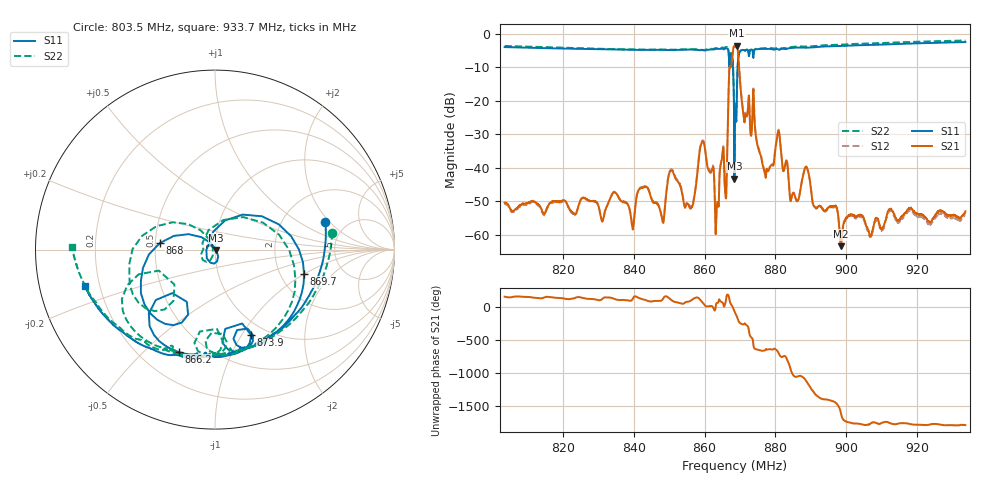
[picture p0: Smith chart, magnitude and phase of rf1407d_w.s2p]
!RF1407D, #2,job7175,wide,bn,8/22/05
# HZ S RI R 50
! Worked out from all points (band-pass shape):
!   1601 points, 803.5 MHz to 933.7 MHz, reference 50 ohm
!   highest |S21| = -3.55 dB at 869.2 MHz (marker M1); lowest = -63.4 dB at 898.6 MHz (marker M2)
!   |S21| within 3 dB of the highest: 867.8818 MHz to 869.5205 MHz (1.639 MHz wide, 0.189 % of centre)
!   lowest |S11| = -43.3 dB at 868.4 MHz (marker M3), VSWR 1.01, Z = 50.7 - j0.158 ohm
!   |S11| at or under -10 dB: 868.0198 MHz to 869.3282 MHz (1.308 MHz wide, 0.151 % of centre)
!   |S22| runs from -36.5 to -2.0 dB; largest |S21 - S12| = 0.023
!   S11 on the Smith chart (normalised r, x): 803.5 MHz: 3.47, +1.79; 866.2 MHz: 0.36, -0.64; 868 MHz: 0.53, +0.04; 869.7 MHz: 2.71, -0.99; 873.9 MHz: 0.85, -1.10; 933.7 MHz: 0.14, -0.13
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8.03455e8  0.6146 0.1541  -0.00278 0.00115  -0.00268 0.00118  0.6524 0.0952
8.251971e8  0.5751 -0.1491  -0.00278 0.00206  -0.00282 0.00199  0.5574 -0.2396
8.469393e8  0.3714 -0.4409  -0.000121 0.00272  -0.00016 0.00281  0.2623 -0.521
8.506036e8  0.3164 -0.4778  -0.00278 0.00865  -0.00302 0.00905  0.1924 -0.5463
8.563039e8  0.218 -0.5381  -0.000711 0.00243  -0.000795 0.00258  0.0664 -0.5864
8.593983e8  0.1467 -0.5503  0.00826 0.0231  0.00901 0.024  -0.00955 -0.5759
8.634698e8  0.0345 -0.5951  0.00126 0.00232  0.0014 0.00234  -0.1459 -0.5948
8.661571e8  -0.2032 -0.57  -0.00385 0.00223  -0.00396 0.00256  -0.395 -0.4983
8.6803e8  -0.3072 0.0365  0.5554 -0.0761  0.5455 -0.0953  -0.3265 0.1301
8.684371e8  0.00665 -0.00156  0.2851 -0.5822  0.2774 -0.5865  -0.0123 0.00844
8.686e8  0.0118 -0.065  0.0854 -0.6268  0.0761 -0.6323  -0.0259 -0.0593
8.6917e8  0.0563 0.1625  -0.5595 -0.3578  -0.562 -0.3521  0.0465 0.1647
8.6974e8  0.4965 -0.1351  -0.2255 0.2184  -0.2344 0.2217  0.4445 -0.2323
8.712058e8  0.2654 -0.5064  -0.0111 0.0475  -0.0107 0.0502  0.1053 -0.5633
8.73893e8  0.2014 -0.4768  -0.0564 0.0936  -0.0555 0.0991  0.0471 -0.5179
8.770688e8  0.0305 -0.5953  0.0032 0.00746  0.00367 0.0076  -0.1571 -0.5894
8.808147e8  -0.059 -0.5834  0.0279 0.0214  0.0301 0.0202  -0.2527 -0.5421
8.845605e8  -0.1104 -0.6062  -0.000874 0.00336  -0.000598 0.00347  -0.3087 -0.5572
8.903421e8  -0.2179 -0.5865  -0.00358 -0.00069  -0.00355 -0.000352  -0.4129 -0.5032
8.985667e8  -0.357 -0.5525  -0.000659 -0.000137  -0.000692 -5.19e-05  -0.5413 -0.4254
9.120843e8  -0.5388 -0.4423  0.00134 0.00194  0.00129 0.00174  -0.687 -0.266
9.33745e8  -0.7257 -0.2025  0.00213 0.000687  0.00186 0.000674  -0.7956 0.0127
